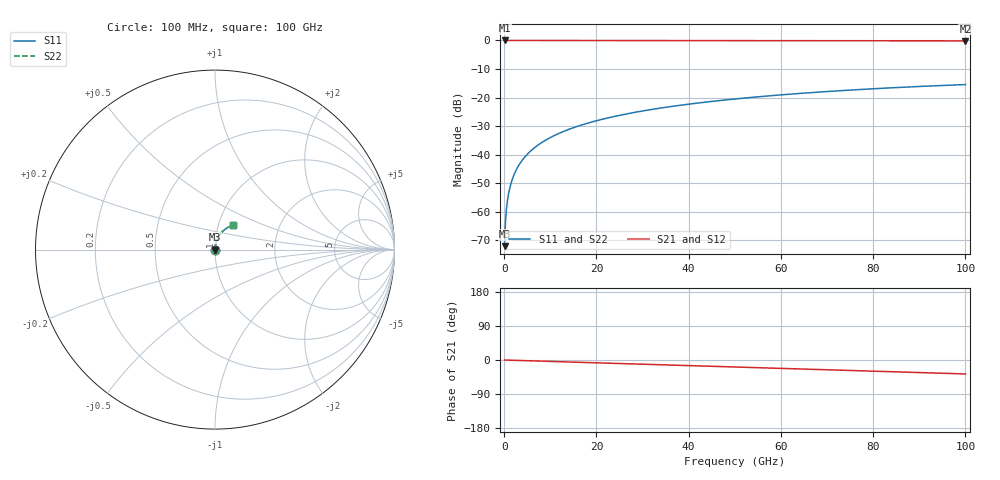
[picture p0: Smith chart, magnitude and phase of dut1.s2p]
! Touchstone file exported from HFSS 2026.1.0
!  File:  C:/ffzhzh/LocalFiles/Ansys_Project_Files/temp_train_TSV_1_1783504045_31944.aedt
!  Generated:  05:49:00 PM Jul  8, 2026
!  Design:  TSV
!  Project:  temp_train_TSV_1_1783504045_31944
! Variables:
!  h_bsmrdl = 2um
!  h_ox = 20um
!  h_rdl = 5um
!  h_sub = 64.13um
!  h_tmrdl = 5um
!  h_tsv = 64.13um
!  h_via = 3um
!  l_bsmrdl = 300um
!  l_sub = 420.66um
!  l_tmrdl = 200um
!  m_sub = 200um
!  pitch = 59.73um
!  r_tsv = 10.33um
!  s_tmrdl = 10um
!  w_bsmrdl = 18um
!  w_sub = 500um
!  w_tmrdl = 12um
!  x_tsv_center1 = 206um
!  x_tsv_center2 = 524um
!  x_tsv_center3 = 736um
!  x_tsv_center4 = 1054um
!  x_tsv_center5 = 1266um
!  x_tsv_center6 = 1584um
# GHz S MA R 50.000000
! Terminal data exported
! Port[1] = TSV1_1_T1
! Port[2] = TSV1_1_T2
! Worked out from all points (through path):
!   1000 points, 100 MHz to 100 GHz, reference 50 ohm
!   highest |S21| = 0.00 dB at 100 MHz (marker M1); lowest = -0.1 dB at 100 GHz (marker M2)
!   group delay of S21, straight-line fit = 1.02 ps
!   lowest |S11| = -72.0 dB at 100 MHz (marker M3), VSWR 1.00, Z = 50 + j0.0231 ohm
!   |S11| at or under -10 dB: start of sweep to end of sweep
!   |S22| runs from -72.0 to -15.4 dB; largest |S21 - S12| = 3.7e-15
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0.1  0.0002516 66.5  0.9999 -0.0  0.9999 -0.0  0.0002516 66.5
! Gamma 0 0 0 0
! Port Impedance 50 0 50 0
0.3  0.0006935 79.6  0.9999 -0.1  0.9999 -0.1  0.0006935 79.6
0.7  0.001546 82.8  0.9998 -0.3  0.9998 -0.3  0.001546 82.8
0.8  0.001752 83.1  0.9998 -0.3  0.9998 -0.3  0.001752 83.1
1  0.002162 83.6  0.9998 -0.4  0.9998 -0.4  0.002162 83.6
1.3  0.002773 84.2  0.9997 -0.5  0.9997 -0.5  0.002773 84.2
1.7  0.003584 84.7  0.9997 -0.6  0.9997 -0.6  0.003584 84.7
2.3  0.004793 85.1  0.9997 -0.9  0.9997 -0.9  0.004793 85.1
3  0.006195 85.3  0.9996 -1.1  0.9996 -1.1  0.006195 85.3
3.8  0.007787 85.4  0.9995 -1.4  0.9995 -1.4  0.007787 85.4
4.8  0.009768 85.3  0.9995 -1.8  0.9995 -1.8  0.009768 85.3
6  0.01214 85.2  0.9994 -2.2  0.9994 -2.2  0.01214 85.2
8.8  0.01764 84.6  0.9992 -3.3  0.9992 -3.3  0.01764 84.6
12.4  0.02467 83.5  0.9989 -4.6  0.9989 -4.6  0.02467 83.5
16.8  0.0332 82.1  0.9985 -6.3  0.9985 -6.3  0.0332 82.1
24.2  0.04739 79.7  0.9978 -9.0  0.9978 -9.0  0.04739 79.7
33.4  0.0647 76.5  0.9966 -12.4  0.9966 -12.4  0.0647 76.5
41.2  0.07899 73.7  0.9954 -15.3  0.9954 -15.3  0.07899 73.7
50.1  0.0948 70.5  0.9939 -18.6  0.9939 -18.6  0.0948 70.5
66.7  0.1225 64.6  0.9906 -24.6  0.9906 -24.6  0.1225 64.5
83.4  0.1476 58.5  0.9869 -30.8  0.9869 -30.8  0.1476 58.5
100  0.1691 52.6  0.9832 -36.8  0.9832 -36.8  0.1691 52.6
